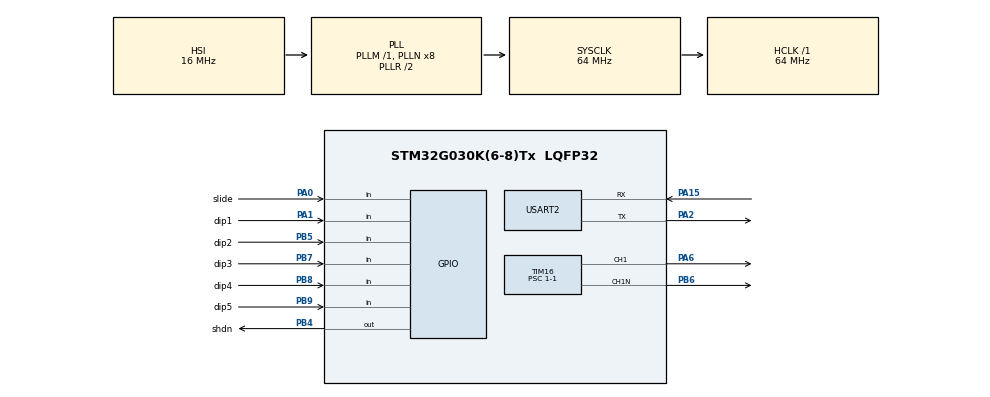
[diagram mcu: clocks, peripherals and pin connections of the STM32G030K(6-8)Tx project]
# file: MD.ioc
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Dma.Request0=USART2_RX
Dma.USART2_RX.0.Direction=DMA_PERIPH_TO_MEMORY
Dma.USART2_RX.0.EventEnable=DISABLE
Dma.USART2_RX.0.Instance=DMA1_Channel1
Dma.USART2_RX.0.MemDataAlignment=DMA_MDATAALIGN_BYTE
Dma.USART2_RX.0.MemInc=DMA_MINC_ENABLE
Dma.USART2_RX.0.Mode=DMA_CIRCULAR
Dma.USART2_RX.0.PeriphDataAlignment=DMA_PDATAALIGN_BYTE
Dma.USART2_RX.0.PeriphInc=DMA_PINC_DISABLE
Dma.USART2_RX.0.Polarity=HAL_DMAMUX_REQ_GEN_RISING
Dma.USART2_RX.0.Priority=DMA_PRIORITY_HIGH
Dma.USART2_RX.0.RequestNumber=1
Dma.USART2_RX.0.SignalID=NONE
Dma.USART2_RX.0.SyncEnable=DISABLE
Dma.USART2_RX.0.SyncPolarity=HAL_DMAMUX_SYNC_NO_EVENT
Dma.USART2_RX.0.SyncRequestNumber=1
Dma.USART2_RX.0.SyncSignalID=NONE
Mcu.Family=STM32G0
Mcu.Name=STM32G030K(6-8)Tx
Mcu.Package=LQFP32
NVIC.DMA1_Channel1_IRQn=true\:0\:0\:false\:false\:true\:false\:true\:true
PA0.GPIO_Label=slide
PA0.Signal=GPIO_Input
PA1.GPIO_Label=dip1
PA1.Signal=GPIO_Input
PA15.Mode=Asynchronous
PA15.Signal=USART2_RX
PA2.Mode=Asynchronous
PA2.Signal=USART2_TX
PA6.Signal=S_TIM16_CH1
PB4.GPIO_Label=shdn
PB4.Signal=GPIO_Output
PB5.GPIO_Label=dip2
PB5.Signal=GPIO_Input
PB6.Mode=PWM Generation1 CH1 CH1N
PB6.Signal=TIM16_CH1N
PB7.GPIO_Label=dip3
PB7.Signal=GPIO_Input
PB8.GPIO_Label=dip4
PB8.Signal=GPIO_Input
PB9.GPIO_Label=dip5
PB9.Signal=GPIO_Input
ProjectManager.HeapSize=0x200
ProjectManager.StackSize=0x400
ProjectManager.TargetToolchain=STM32CubeIDE
RCC.ADCFreq_Value=64000000
RCC.AHBFreq_Value=64000000
RCC.CortexFreq_Value=64000000
RCC.EXTERNAL_CLOCK_VALUE=12288000
RCC.HCLKFreq_Value=64000000
RCC.HSE_VALUE=8000000
RCC.HSI_VALUE=16000000
RCC.LSE_VALUE=32768
RCC.SYSCLKFreq_VALUE=64000000
RCC.SYSCLKSource=RCC_SYSCLKSOURCE_PLLCLK
RCC.VCOOutputFreq_Value=128000000
SH.S_TIM16_CH1.0=TIM16_CH1,PWM Generation1 CH1 CH1N
TIM16.Channel=TIM_CHANNEL_1
TIM16.OCFastMode_PWM=TIM_OCFAST_ENABLE
TIM16.Period=640-1
TIM16.Prescaler=1-1
USART2.VirtualMode-Asynchronous=VM_ASYNC
VP_TIM16_VS_ClockSourceINT.Mode=Enable_Timer
board=custom

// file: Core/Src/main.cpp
/* USER CODE BEGIN Header */
/**
  ******************************************************************************
  * @file           : main.c
  * @brief          : Main program body
  ******************************************************************************
  * @attention
  *
  * Copyright (c) 2024 STMicroelectronics.
  * All rights reserved.
  *
  * This software is licensed under terms that can be found in the LICENSE file
  * in the root directory of this software component.
  * If no LICENSE file comes with this software, it is provided AS-IS.
  *
  ******************************************************************************
  */
/* USER CODE END Header */
#include "main.h"
#include "math.h"

/* USER CODE BEGIN Includes */
#include "maxon.h"

/* USER CODE END Includes */

TIM_HandleTypeDef htim16;

UART_HandleTypeDef huart2;
DMA_HandleTypeDef hdma_usart2_rx;

/* USER CODE BEGIN PV */
int16_t value = 0;
static uint8_t rxBuf[128];
uint8_t receiveArray[15] = {0};
uint8_t read[6] = {0};
uint16_t angle = 0;
uint8_t speed = 0;
int16_t rotation = 0;

uint8_t ID = 0;
uint16_t m_angle = 0;

/* USER CODE END PV */

void SystemClock_Config(void);
static void MX_GPIO_Init(void);
static void MX_DMA_Init(void);
static void MX_TIM16_Init(void);
static void MX_USART2_UART_Init(void);
/* USER CODE BEGIN PFP */
void receiveData();
int16_t calcValue();

/* USER CODE END PFP */

int main(void)
{

  /* MCU Configuration--------------------------------------------------------*/

  /* Reset of all peripherals, Initializes the Flash interface and the Systick. */
  HAL_Init();

  /* Configure the system clock */
  SystemClock_Config();

  /* Initialize all configured peripherals */
  MX_GPIO_Init();
  MX_DMA_Init();
  MX_TIM16_Init();
  MX_USART2_UART_Init();
  /* USER CODE BEGIN 2 */
  MAXON maxon(&htim16, TIM_CHANNEL_1, shdn_GPIO_Port, shdn_Pin);
  HAL_UART_Receive_DMA(&huart2, rxBuf, sizeof(rxBuf));

  if(HAL_GPIO_ReadPin(dip1_GPIO_Port, dip1_Pin) == 1){
	  ID = 1;
  }else if(HAL_GPIO_ReadPin(dip2_GPIO_Port, dip2_Pin) == 1){
	  ID = 2;
  }else if(HAL_GPIO_ReadPin(dip3_GPIO_Port, dip3_Pin) == 1){
	  ID = 3;
  }else {
	  while(1);
  }

  m_angle = (ID * 120 + 30) % 360;

  /* USER CODE END 2 */

  /* Infinite loop */
  while (1)
  {

    /* USER CODE BEGIN 3 */
	  receiveData();
	  value = calcValue();
	  value += rotation;
	  if(value < -290){
		  value = -290;
	  }
	  if(value > 290){
		  value = 290;
	  }
	  if(HAL_GPIO_ReadPin (slide_GPIO_Port, slide_Pin) == 0){
		  value = 0;
	  }
	  maxon.move(value);

  }
  /* USER CODE END 3 */
}

void SystemClock_Config(void)
{
  RCC_OscInitTypeDef RCC_OscInitStruct = {0};
  RCC_ClkInitTypeDef RCC_ClkInitStruct = {0};

  /** Configure the main internal regulator output voltage
  */
  HAL_PWREx_ControlVoltageScaling(PWR_REGULATOR_VOLTAGE_SCALE1);

  /** Initializes the RCC Oscillators according to the specified parameters
  * in the RCC_OscInitTypeDef structure.
  */
  RCC_OscInitStruct.OscillatorType = RCC_OSCILLATORTYPE_HSI;
  RCC_OscInitStruct.HSIState = RCC_HSI_ON;
  RCC_OscInitStruct.HSIDiv = RCC_HSI_DIV1;
  RCC_OscInitStruct.HSICalibrationValue = RCC_HSICALIBRATION_DEFAULT;
  RCC_OscInitStruct.PLL.PLLState = RCC_PLL_ON;
  RCC_OscInitStruct.PLL.PLLSource = RCC_PLLSOURCE_HSI;
  RCC_OscInitStruct.PLL.PLLM = RCC_PLLM_DIV1;
  RCC_OscInitStruct.PLL.PLLN = 8;
  RCC_OscInitStruct.PLL.PLLP = RCC_PLLP_DIV2;
  RCC_OscInitStruct.PLL.PLLR = RCC_PLLR_DIV2;
  if (HAL_RCC_OscConfig(&RCC_OscInitStruct) != HAL_OK)
  {
    Error_Handler();
  }

  /** Initializes the CPU, AHB and APB buses clocks
  */
  RCC_ClkInitStruct.ClockType = RCC_CLOCKTYPE_HCLK|RCC_CLOCKTYPE_SYSCLK
                              |RCC_CLOCKTYPE_PCLK1;
  RCC_ClkInitStruct.SYSCLKSource = RCC_SYSCLKSOURCE_PLLCLK;
  RCC_ClkInitStruct.AHBCLKDivider = RCC_SYSCLK_DIV1;
  RCC_ClkInitStruct.APB1CLKDivider = RCC_HCLK_DIV1;

  if (HAL_RCC_ClockConfig(&RCC_ClkInitStruct, FLASH_LATENCY_2) != HAL_OK)
  {
    Error_Handler();
  }
}

static void MX_TIM16_Init(void)
{

  TIM_OC_InitTypeDef sConfigOC = {0};
  TIM_BreakDeadTimeConfigTypeDef sBreakDeadTimeConfig = {0};

  htim16.Instance = TIM16;
  htim16.Init.Prescaler = 1-1;
  htim16.Init.CounterMode = TIM_COUNTERMODE_UP;
  htim16.Init.Period = 640-1;
  htim16.Init.ClockDivision = TIM_CLOCKDIVISION_DIV1;
  htim16.Init.RepetitionCounter = 0;
  htim16.Init.AutoReloadPreload = TIM_AUTORELOAD_PRELOAD_DISABLE;
  if (HAL_TIM_Base_Init(&htim16) != HAL_OK)
  {
    Error_Handler();
  }
  if (HAL_TIM_PWM_Init(&htim16) != HAL_OK)
  {
    Error_Handler();
  }
  sConfigOC.OCMode = TIM_OCMODE_PWM1;
  sConfigOC.Pulse = 0;
  sConfigOC.OCPolarity = TIM_OCPOLARITY_HIGH;
  sConfigOC.OCNPolarity = TIM_OCNPOLARITY_HIGH;
  sConfigOC.OCFastMode = TIM_OCFAST_ENABLE;
  sConfigOC.OCIdleState = TIM_OCIDLESTATE_RESET;
  sConfigOC.OCNIdleState = TIM_OCNIDLESTATE_RESET;
  if (HAL_TIM_PWM_ConfigChannel(&htim16, &sConfigOC, TIM_CHANNEL_1) != HAL_OK)
  {
    Error_Handler();
  }
  sBreakDeadTimeConfig.OffStateRunMode = TIM_OSSR_DISABLE;
  sBreakDeadTimeConfig.OffStateIDLEMode = TIM_OSSI_DISABLE;
  sBreakDeadTimeConfig.LockLevel = TIM_LOCKLEVEL_OFF;
  sBreakDeadTimeConfig.DeadTime = 0;
  sBreakDeadTimeConfig.BreakState = TIM_BREAK_DISABLE;
  sBreakDeadTimeConfig.BreakPolarity = TIM_BREAKPOLARITY_HIGH;
  sBreakDeadTimeConfig.BreakFilter = 0;
  sBreakDeadTimeConfig.AutomaticOutput = TIM_AUTOMATICOUTPUT_DISABLE;
  if (HAL_TIMEx_ConfigBreakDeadTime(&htim16, &sBreakDeadTimeConfig) != HAL_OK)
  {
    Error_Handler();
  }
  HAL_TIM_MspPostInit(&htim16);

}

static void MX_USART2_UART_Init(void)
{

  huart2.Instance = USART2;
  huart2.Init.BaudRate = 115200;
  huart2.Init.WordLength = UART_WORDLENGTH_8B;
  huart2.Init.StopBits = UART_STOPBITS_1;
  huart2.Init.Parity = UART_PARITY_NONE;
  huart2.Init.Mode = UART_MODE_TX_RX;
  huart2.Init.HwFlowCtl = UART_HWCONTROL_NONE;
  huart2.Init.OverSampling = UART_OVERSAMPLING_16;
  huart2.Init.OneBitSampling = UART_ONE_BIT_SAMPLE_DISABLE;
  huart2.Init.ClockPrescaler = UART_PRESCALER_DIV1;
  huart2.AdvancedInit.AdvFeatureInit = UART_ADVFEATURE_NO_INIT;
  if (HAL_UART_Init(&huart2) != HAL_OK)
  {
    Error_Handler();
  }

}

static void MX_DMA_Init(void)
{

  /* DMA controller clock enable */
  __HAL_RCC_DMA1_CLK_ENABLE();

  /* DMA interrupt init */
  /* DMA1_Channel1_IRQn interrupt configuration */
  HAL_NVIC_SetPriority(DMA1_Channel1_IRQn, 0, 0);
  HAL_NVIC_EnableIRQ(DMA1_Channel1_IRQn);

}

static void MX_GPIO_Init(void)
{
  GPIO_InitTypeDef GPIO_InitStruct = {0};

  /* GPIO Ports Clock Enable */
  __HAL_RCC_GPIOB_CLK_ENABLE();
  __HAL_RCC_GPIOA_CLK_ENABLE();

  /*Configure GPIO pin Output Level */
  HAL_GPIO_WritePin(shdn_GPIO_Port, shdn_Pin, GPIO_PIN_RESET);

  /*Configure GPIO pins : dip5_Pin dip2_Pin dip3_Pin dip4_Pin */
  GPIO_InitStruct.Pin = dip5_Pin|dip2_Pin|dip3_Pin|dip4_Pin;
  GPIO_InitStruct.Mode = GPIO_MODE_INPUT;
  GPIO_InitStruct.Pull = GPIO_NOPULL;
  HAL_GPIO_Init(GPIOB, &GPIO_InitStruct);

  /*Configure GPIO pins : slide_Pin dip1_Pin */
  GPIO_InitStruct.Pin = slide_Pin|dip1_Pin;
  GPIO_InitStruct.Mode = GPIO_MODE_INPUT;
  GPIO_InitStruct.Pull = GPIO_NOPULL;
  HAL_GPIO_Init(GPIOA, &GPIO_InitStruct);

  /*Configure GPIO pin : shdn_Pin */
  GPIO_InitStruct.Pin = shdn_Pin;
  GPIO_InitStruct.Mode = GPIO_MODE_OUTPUT_PP;
  GPIO_InitStruct.Pull = GPIO_NOPULL;
  GPIO_InitStruct.Speed = GPIO_SPEED_FREQ_LOW;
  HAL_GPIO_Init(shdn_GPIO_Port, &GPIO_InitStruct);

}

/* USER CODE BEGIN 4 */
void receiveData(){
  uint8_t checksum = 0;
  static uint8_t index = 0;

  index = huart2.hdmarx->Instance->CNDTR;
  index = sizeof(rxBuf) - index;

  if (index >= 15)
  {
    for (int i = 0; i < 15; i++)
    {
      receiveArray[i] = rxBuf[index - 14 + i];
      HAL_Delay(1);
    }
  }

  for (int i = 0; i < 15; i++)
  {
    if (receiveArray[i] == 255 && receiveArray[i + 1] == 255)
    {
      for (int j = 0; j < 6; j++)
      {
        read[j] = receiveArray[i + j + 2];
      }
    }
  }

  for (int i = 0; i < 5; i++)
  {
    checksum += read[i];
  }
  checksum = ~checksum + 10;

  if (read[5] == checksum)
  {
	  angle = read[0] * 256 + read[1];
	  speed = read[2];
	  rotation = read[3] + 256 + read[4] - 360;
  }
}

int16_t calcValue(){
	float diffRad = (abs(m_angle - angle)) / 180.0 * M_PI;
	return (cos(diffRad) * speed);
}

/* USER CODE END 4 */

void Error_Handler(void)
{
  __disable_irq();
  while (1)
  {
  }
}
